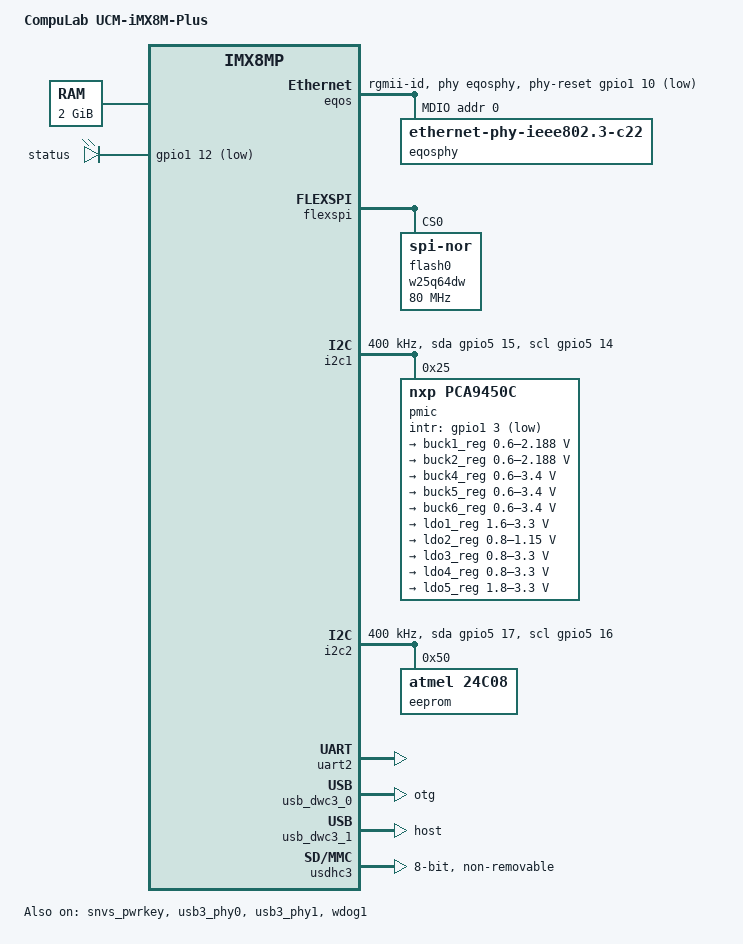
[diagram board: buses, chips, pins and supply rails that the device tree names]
// SPDX-License-Identifier: (GPL-2.0+ OR MIT)
/*
 * Copyright 2022 CompuLab
 */

/dts-v1/;

#include <dt-bindings/usb/pd.h>
#include "imx8mp.dtsi"
#include "ucm-imx8m-plus-pinctrl.dtsi"

/ {
	model = "CompuLab UCM-iMX8M-Plus";
	compatible = "compulab,ucm-imx8m-plus-som", "fsl,imx8mp";

	memory@40000000 {
		device_type = "memory";
		reg = <0x0 0x40000000 0 0x80000000>,
		      <0x1 0x00000000 0 0x00000000>;
	};

	leds {
		compatible = "gpio-leds";
		pinctrl-names = "default";
		pinctrl-0 = <&pinctrl_gpio_led>;

		status {
			label = "status";
			gpios = <&gpio1 12 GPIO_ACTIVE_LOW>;
			default-state = "on"; /* LED GREEN */
		};
	};
};

&eqos {
	pinctrl-names = "default";
	pinctrl-0 = <&pinctrl_eqos>;
	phy-mode = "rgmii-id";
	phy-handle = <&eqosphy>;
	phy-reset-gpios = <&gpio1 10 GPIO_ACTIVE_LOW>;
	phy-reset-duration = <10>;
	phy-reset-post-delay = <150>;
	status = "okay";

	mdio {
		compatible = "snps,dwmac-mdio";
		#address-cells = <1>;
		#size-cells = <0>;

		eqosphy: eqos-phy@0 {
			compatible = "ethernet-phy-ieee802.3-c22";
			reg = <0>;
			eee-broken-1000t;
		};
	};
};

&flexspi {
	pinctrl-names = "default";
	pinctrl-0 = <&pinctrl_flexspi0>;
	status = "okay";

	flash0: w25q64dw@0 {
		reg = <0>;
		#address-cells = <1>;
		#size-cells = <1>;
		compatible = "jedec,spi-nor";
		spi-max-frequency = <80000000>;
		spi-tx-bus-width = <4>;
		spi-rx-bus-width = <4>;
	};
};

&i2c1 {
	clock-frequency = <400000>;
	pinctrl-names = "default", "gpio";
	pinctrl-0 = <&pinctrl_i2c1>;
	pinctrl-1 = <&pinctrl_i2c1_gpio>;
	scl-gpios = <&gpio5 14 GPIO_ACTIVE_HIGH>;
	sda-gpios = <&gpio5 15 GPIO_ACTIVE_HIGH>;
	status = "okay";

	pmic: pca9450@25 {
		reg = <0x25>;
		compatible = "nxp,pca9450c";
		/* PMIC PCA9450 PMIC_nINT GPIO1_IO3 */
		pinctrl-0 = <&pinctrl_pmic>;
		gpio_intr = <&gpio1 3 GPIO_ACTIVE_LOW>;

		regulators {
			#address-cells = <1>;
			#size-cells = <0>;

			pca9450,pmic-buck2-uses-i2c-dvs;
			/* Run/Standby voltage */
			pca9450,pmic-buck2-dvs-voltage = <950000>, <850000>;

			buck1_reg: regulator@0 {
				reg = <0>;
				regulator-compatible = "buck1";
				regulator-min-microvolt = <600000>;
				regulator-max-microvolt = <2187500>;
				regulator-boot-on;
				regulator-always-on;
				regulator-ramp-delay = <3125>;
			};

			buck2_reg: regulator@1 {
				reg = <1>;
				regulator-compatible = "buck2";
				regulator-min-microvolt = <600000>;
				regulator-max-microvolt = <2187500>;
				regulator-boot-on;
				regulator-always-on;
				regulator-ramp-delay = <3125>;
			};

			buck4_reg: regulator@3 {
				reg = <3>;
				regulator-compatible = "buck4";
				regulator-min-microvolt = <600000>;
				regulator-max-microvolt = <3400000>;
				regulator-boot-on;
				regulator-always-on;
			};

			buck5_reg: regulator@4 {
				reg = <4>;
				regulator-compatible = "buck5";
				regulator-min-microvolt = <600000>;
				regulator-max-microvolt = <3400000>;
				regulator-boot-on;
				regulator-always-on;
			};

			buck6_reg: regulator@5 {
				reg = <5>;
				regulator-compatible = "buck6";
				regulator-min-microvolt = <600000>;
				regulator-max-microvolt = <3400000>;
				regulator-boot-on;
				regulator-always-on;
			};

			ldo1_reg: regulator@6 {
				reg = <6>;
				regulator-compatible = "ldo1";
				regulator-min-microvolt = <1600000>;
				regulator-max-microvolt = <3300000>;
				regulator-boot-on;
				regulator-always-on;
			};

			ldo2_reg: regulator@7 {
				reg = <7>;
				regulator-compatible = "ldo2";
				regulator-min-microvolt = <800000>;
				regulator-max-microvolt = <1150000>;
				regulator-boot-on;
				regulator-always-on;
			};

			ldo3_reg: regulator@8 {
				reg = <8>;
				regulator-compatible = "ldo3";
				regulator-min-microvolt = <800000>;
				regulator-max-microvolt = <3300000>;
				regulator-boot-on;
				regulator-always-on;
			};

			ldo4_reg: regulator@9 {
				reg = <9>;
				regulator-compatible = "ldo4";
				regulator-min-microvolt = <800000>;
				regulator-max-microvolt = <3300000>;
				regulator-boot-on;
				regulator-always-on;
			};

			ldo5_reg: regulator@10 {
				reg = <10>;
				regulator-compatible = "ldo5";
				regulator-min-microvolt = <1800000>;
				regulator-max-microvolt = <3300000>;
			};
		};
	};
};

&i2c2 {
	clock-frequency = <400000>;
	pinctrl-names = "default", "gpio";
	pinctrl-0 = <&pinctrl_i2c2>;
	pinctrl-1 = <&pinctrl_i2c2_gpio>;
	scl-gpios = <&gpio5 16 GPIO_ACTIVE_HIGH>;
	sda-gpios = <&gpio5 17 GPIO_ACTIVE_HIGH>;
	status = "okay";

	eeprom@50 {
		compatible = "atmel,24c08";
		reg = <0x50>;
		pagesize = <16>;
	};
};

&i2c3 {
	clock-frequency = <100000>;
	pinctrl-names = "default", "gpio";
	pinctrl-0 = <&pinctrl_i2c3>;
	pinctrl-1 = <&pinctrl_i2c3_gpio>;
	scl-gpios = <&gpio5 18 GPIO_ACTIVE_HIGH>;
	sda-gpios = <&gpio5 19 GPIO_ACTIVE_HIGH>;
	status = "disabled";
};

&i2c5 {
	clock-frequency = <100000>;
	pinctrl-names = "default", "gpio";
	pinctrl-0 = <&pinctrl_i2c5>;
	pinctrl-1 = <&pinctrl_i2c5_gpio>;
	scl-gpios = <&gpio3 21 GPIO_ACTIVE_HIGH>;
	sda-gpios = <&gpio3 25 GPIO_ACTIVE_HIGH>;
	status = "disabled";

};

&snvs_pwrkey {
	status = "okay";
};

&uart2 {
	/* console */
	pinctrl-names = "default";
	pinctrl-0 = <&pinctrl_uart2>;
	status = "okay";
};

&usb3_phy0 {
	status = "okay";
};

&usb_dwc3_0 {
	dr_mode = "otg";
	hnp-disable;
	srp-disable;
	adp-disable;
	usb-role-switch;
	status = "okay";
};

&usb3_phy1 {
	status = "okay";
};

&usb_dwc3_1 {
	dr_mode = "host";
	status = "okay";
};

&usdhc2 {
	pinctrl-0 = <&pinctrl_usdhc2>;
	pinctrl-1 = <&pinctrl_usdhc2_100mhz>;
	pinctrl-2 = <&pinctrl_usdhc2_200mhz>;
	bus-width = <4>;
	status = "disabled";
};

&usdhc3 {
	pinctrl-names = "default", "state_100mhz", "state_200mhz";
	pinctrl-0 = <&pinctrl_usdhc3>;
	pinctrl-1 = <&pinctrl_usdhc3_100mhz>;
	pinctrl-2 = <&pinctrl_usdhc3_200mhz>;
	bus-width = <8>;
	non-removable;
	status = "okay";
};

&wdog1 {
	pinctrl-names = "default";
	pinctrl-0 = <&pinctrl_wdog>;
	fsl,ext-reset-output;
	status = "okay";
};
